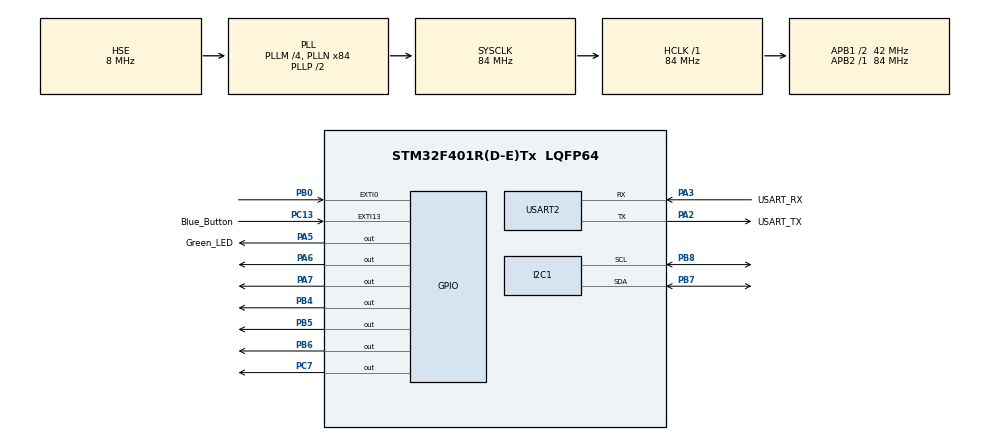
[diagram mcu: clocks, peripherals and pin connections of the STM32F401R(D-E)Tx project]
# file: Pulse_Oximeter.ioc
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Mcu.Family=STM32F4
Mcu.Name=STM32F401R(D-E)Tx
Mcu.Package=LQFP64
NVIC.EXTI0_IRQn=true\:0\:0\:false\:false\:true\:true\:true\:true
NVIC.PriorityGroup=NVIC_PRIORITYGROUP_0
PA13.GPIO_Label=TMS
PA13.Mode=Serial_Wire
PA13.Signal=SYS_JTMS-SWDIO
PA14.GPIO_Label=TCK
PA14.Mode=Serial_Wire
PA14.Signal=SYS_JTCK-SWCLK
PA2.GPIO_Label=USART_TX
PA2.GPIO_Mode=GPIO_MODE_AF_PP
PA2.GPIO_PuPd=GPIO_NOPULL
PA2.GPIO_Speed=GPIO_SPEED_FREQ_LOW
PA2.Mode=Asynchronous
PA2.Signal=USART2_TX
PA3.GPIO_Label=USART_RX
PA3.GPIO_Mode=GPIO_MODE_AF_PP
PA3.GPIO_PuPd=GPIO_NOPULL
PA3.GPIO_Speed=GPIO_SPEED_FREQ_LOW
PA3.Mode=Asynchronous
PA3.Signal=USART2_RX
PA5.GPIO_Label=Green_LED
PA5.GPIO_Mode=GPIO_MODE_OUTPUT_PP
PA5.GPIO_PuPd=GPIO_NOPULL
PA5.GPIO_Speed=GPIO_SPEED_FREQ_LOW
PA5.Signal=GPIO_Output
PA6.Signal=GPIO_Output
PA7.Signal=GPIO_Output
PB0.GPIO_ModeDefaultEXTI=GPIO_MODE_IT_FALLING
PB0.GPIO_PuPd=GPIO_PULLUP
PB0.Signal=GPXTI0
PB3.GPIO_Label=SWO
PB3.Signal=SYS_JTDO-SWO
PB4.Signal=GPIO_Output
PB5.Signal=GPIO_Output
PB6.Signal=GPIO_Output
PB7.Mode=I2C
PB7.Signal=I2C1_SDA
PB8.Mode=I2C
PB8.Signal=I2C1_SCL
PC13-ANTI_TAMP.GPIO_Label=Blue_Button
PC13-ANTI_TAMP.GPIO_ModeDefaultEXTI=GPIO_MODE_IT_FALLING
PC13-ANTI_TAMP.GPIO_PuPd=GPIO_NOPULL
PC13-ANTI_TAMP.Signal=GPXTI13
PC14-OSC32_IN.Signal=RCC_OSC32_IN
PC15-OSC32_OUT.Signal=RCC_OSC32_OUT
PC7.Signal=GPIO_Output
PH0\ -\ OSC_IN.Mode=HSE-External-Clock-Source
PH0\ -\ OSC_IN.Signal=RCC_OSC_IN
PH1\ -\ OSC_OUT.Mode=HSE-External-Clock-Source
PH1\ -\ OSC_OUT.Signal=RCC_OSC_OUT
ProjectManager.HeapSize=0x2000
ProjectManager.StackSize=0x4000
ProjectManager.TargetToolchain=STM32CubeIDE
RCC.48MHZClocksFreq_Value=24000000
RCC.AHBFreq_Value=84000000
RCC.APB1CLKDivider=RCC_HCLK_DIV2
RCC.APB1Freq_Value=42000000
RCC.APB1TimFreq_Value=84000000
RCC.APB2Freq_Value=84000000
RCC.APB2TimFreq_Value=84000000
RCC.CortexFreq_Value=84000000
RCC.HCLKFreq_Value=84000000
RCC.HSE_VALUE=8000000
RCC.HSI_VALUE=16000000
RCC.LSE_VALUE=32768
RCC.PLLM=4
RCC.PLLN=84
RCC.PLLQ=7
RCC.PLLSourceVirtual=RCC_PLLSOURCE_HSE
RCC.SYSCLKFreq_VALUE=84000000
RCC.SYSCLKSource=RCC_SYSCLKSOURCE_PLLCLK
RCC.VCOOutputFreq_Value=168000000
USART2.VirtualMode=VM_ASYNC
board=NUCLEO-F401RE

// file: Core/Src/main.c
/* USER CODE BEGIN Header */
/**
  ******************************************************************************
  * @file           : main.c
  * @brief          : Main program body
  ******************************************************************************
  * @attention
  *
  * Copyright (c) 2023 STMicroelectronics.
  * All rights reserved.
  *
  * This software is licensed under terms that can be found in the LICENSE file
  * in the root directory of this software component.
  * If no LICENSE file comes with this software, it is provided AS-IS.
  *
  ******************************************************************************
  */
/* USER CODE END Header */
#include "main.h"

/* USER CODE BEGIN Includes */
#include "lcd.h"
#include "stdio.h"
#include <stdlib.h>
/* USER CODE END Includes */

I2C_HandleTypeDef hi2c1;

UART_HandleTypeDef huart2;

/* USER CODE BEGIN PV */
UART_HandleTypeDef huart2;
GPIO_PinState button_state;
uint8_t dataBuffer[16]; // Buffer to store received I2C data

/* USER CODE END PV */

void SystemClock_Config(void);
static void MX_GPIO_Init(void);
static void MX_USART2_UART_Init(void);
static void MX_I2C1_Init(void);

  /* USER CODE BEGIN PFP */
int _write(int file, char *ptr, int len)
{
  /* Implement your write code here, this is used by puts and printf for example */
  int i=0;
  for(i=0 ; i<len ; i++)
    ITM_SendChar((*ptr++));
  return len;
}
/* USER CODE END PFP */

/* USER CODE BEGIN 0 */

void HAL_GPIO_EXTI_Callback(uint16_t GPIO_Pin)				// this is the function that executes when EXT interrupt comes in
{
	// ToDO: implement this to do what it is required to do

}
/* USER CODE END 0 */

int main(void)
{

  /* MCU Configuration--------------------------------------------------------*/

  /* Reset of all peripherals, Initializes the Flash interface and the Systick. */
   HAL_Init();

  /* Configure the system clock */
  SystemClock_Config();

  /* Initialize all configured peripherals */
  MX_GPIO_Init();
  MX_USART2_UART_Init();
  MX_I2C1_Init();
  /* USER CODE BEGIN 2 */

  // Lcd_PortType ports[] = { D4_GPIO_Port, D5_GPIO_Port, D6_GPIO_Port, D7_GPIO_Port };
  Lcd_PortType ports[] = { GPIOC, GPIOB, GPIOA, GPIOA };
  // Lcd_PinType pins[] = {D4_Pin, D5_Pin, D6_Pin, D7_Pin};
  Lcd_PinType pins[] = {GPIO_PIN_7, GPIO_PIN_6, GPIO_PIN_7, GPIO_PIN_6};
  Lcd_HandleTypeDef lcd;
  // Lcd_create(ports, pins, RS_GPIO_Port, RS_Pin, EN_GPIO_Port, EN_Pin, LCD_4_BIT_MODE);
  lcd = Lcd_create(ports, pins, GPIOB, GPIO_PIN_5, GPIOB, GPIO_PIN_4, LCD_4_BIT_MODE);
  Lcd_cursor(&lcd, 0,1);
  Lcd_string(&lcd, "'boss'");

//  for ( int x = 1; x <= 200 ; x++ )
//  {
//	Lcd_cursor(&lcd, 1,7);
//	Lcd_int(&lcd, x);
//	HAL_Delay (100);
//  }

  printf("Hello World!\n");

  /* USER CODE END 2 */

  /* Infinite loop */
  /* USER CODE BEGIN WHILE */
  while (1)
  {

	  // Currently, the project is just initialized to turn the LED ON whenever we PRESS the blue button on the board
	  // ... the next step will be to figure out how to output a message to the LCD screen a message whenever the button is pressed
//	  button_state = HAL_GPIO_ReadPin(GPIOC, Blue_Button_Pin);			// obtain button status (i.e. if it is pressed)
//
//	  if (button_state == GPIO_PIN_RESET){								// blue button is pressed
//		  HAL_GPIO_WritePin(GPIOA, Green_LED_Pin, GPIO_PIN_SET);		// turn the LED on
//	  } else {															// blue button is not pressed
//		  HAL_GPIO_WritePin(GPIOA, Green_LED_Pin, GPIO_PIN_RESET);		// turn the LED off
//	  }

	  //demo begin

	  // STM32 is a slave, so it will wait for data from the master
	  printf("waiting for I2C\n");
	  HAL_I2C_Slave_Receive(&hi2c1, (uint8_t*)dataBuffer, sizeof(dataBuffer), HAL_MAX_DELAY);

	  printf("received I2C\n");

	  // Process the received data as needed
	  char stringBuffer[16];
//	  sprintf(stringBuffer, "%s", dataBuffer);
//	  printf("string = %s\n", stringBuffer);
//
//	  Lcd_clear(&lcd);
//	  Lcd_cursor(&lcd, 0,0);
//	  Lcd_string(&lcd, stringBuffer);

	  // Process the received data as needed
	  strncpy(stringBuffer, (char*)dataBuffer, 16);
	  printf("String Buffer = %s\n", stringBuffer);

	  // Split the string into two substrings
	  char* spo2Substring = strtok(stringBuffer, ",");
	  char* heartRateSubstring = strtok(NULL, ",");

	  if (spo2Substring != NULL && heartRateSubstring != NULL)
	  {
		  // Convert substrings to integers
		  unsigned int spo2Value = atoi(spo2Substring);
		  unsigned int heartRateValue = atoi(heartRateSubstring);

		  char spo2String[16];
		  if (spo2Value < 92){
			  sprintf(spo2String, "Spo2: %d !!!", spo2Value);
		  } else {
			  sprintf(spo2String, "Spo2: %d", spo2Value);
		  }

		  char heartRateString[16];
		  if (heartRateValue > 160){
			  sprintf(heartRateString, "HR: %d HIGH", heartRateValue);
		  } else if(heartRateValue < 50) {
			  sprintf(heartRateString, "HR: %d LOW", heartRateValue);
		  } else {
			  sprintf(heartRateString, "HR: %d", heartRateValue);
		  }

		  // Print values to console
		  printf("%s\n", spo2String);
		  printf("%s\n", heartRateString);

		  // Update LCD or perform other actions with the extracted values
		  Lcd_clear(&lcd);
		  Lcd_cursor(&lcd, 0, 0);
		  Lcd_string(&lcd, spo2String);
		  Lcd_cursor(&lcd, 1, 0);
		  Lcd_string(&lcd, heartRateString);
	  }
	  else
	  {
		  printf("Invalid data format\n");
	  }

	  // Clear the data buffer for the next transmission
	  memset(dataBuffer, 0, sizeof(dataBuffer));
	  // end here
    /* USER CODE END WHILE */

  }
}

void SystemClock_Config(void)
{
  RCC_OscInitTypeDef RCC_OscInitStruct = {0};
  RCC_ClkInitTypeDef RCC_ClkInitStruct = {0};

  /** Configure the main internal regulator output voltage
  */
  __HAL_RCC_PWR_CLK_ENABLE();
  __HAL_PWR_VOLTAGESCALING_CONFIG(PWR_REGULATOR_VOLTAGE_SCALE2);

  /** Initializes the RCC Oscillators according to the specified parameters
  * in the RCC_OscInitTypeDef structure.
  */
  RCC_OscInitStruct.OscillatorType = RCC_OSCILLATORTYPE_HSE;
  RCC_OscInitStruct.HSEState = RCC_HSE_BYPASS;
  RCC_OscInitStruct.PLL.PLLState = RCC_PLL_ON;
  RCC_OscInitStruct.PLL.PLLSource = RCC_PLLSOURCE_HSE;
  RCC_OscInitStruct.PLL.PLLM = 4;
  RCC_OscInitStruct.PLL.PLLN = 84;
  RCC_OscInitStruct.PLL.PLLP = RCC_PLLP_DIV2;
  RCC_OscInitStruct.PLL.PLLQ = 7;
  if (HAL_RCC_OscConfig(&RCC_OscInitStruct) != HAL_OK)
  {
    Error_Handler();
  }

  /** Initializes the CPU, AHB and APB buses clocks
  */
  RCC_ClkInitStruct.ClockType = RCC_CLOCKTYPE_HCLK|RCC_CLOCKTYPE_SYSCLK
                              |RCC_CLOCKTYPE_PCLK1|RCC_CLOCKTYPE_PCLK2;
  RCC_ClkInitStruct.SYSCLKSource = RCC_SYSCLKSOURCE_PLLCLK;
  RCC_ClkInitStruct.AHBCLKDivider = RCC_SYSCLK_DIV1;
  RCC_ClkInitStruct.APB1CLKDivider = RCC_HCLK_DIV2;
  RCC_ClkInitStruct.APB2CLKDivider = RCC_HCLK_DIV1;

  if (HAL_RCC_ClockConfig(&RCC_ClkInitStruct, FLASH_LATENCY_2) != HAL_OK)
  {
    Error_Handler();
  }
}

static void MX_I2C1_Init(void)
{

  hi2c1.Instance = I2C1;
  hi2c1.Init.ClockSpeed = 100000;
  hi2c1.Init.DutyCycle = I2C_DUTYCYCLE_2;
  hi2c1.Init.OwnAddress1 = 8;
  hi2c1.Init.AddressingMode = I2C_ADDRESSINGMODE_7BIT;
  hi2c1.Init.DualAddressMode = I2C_DUALADDRESS_DISABLE;
  hi2c1.Init.OwnAddress2 = 8;
  hi2c1.Init.GeneralCallMode = I2C_GENERALCALL_DISABLE;
  hi2c1.Init.NoStretchMode = I2C_NOSTRETCH_DISABLE;
  if (HAL_I2C_Init(&hi2c1) != HAL_OK)
  {
    Error_Handler();
  }

}

static void MX_USART2_UART_Init(void)
{

  huart2.Instance = USART2;
  huart2.Init.BaudRate = 115200;
  huart2.Init.WordLength = UART_WORDLENGTH_8B;
  huart2.Init.StopBits = UART_STOPBITS_1;
  huart2.Init.Parity = UART_PARITY_NONE;
  huart2.Init.Mode = UART_MODE_TX_RX;
  huart2.Init.HwFlowCtl = UART_HWCONTROL_NONE;
  huart2.Init.OverSampling = UART_OVERSAMPLING_16;
  if (HAL_UART_Init(&huart2) != HAL_OK)
  {
    Error_Handler();
  }

}

static void MX_GPIO_Init(void)
{
  GPIO_InitTypeDef GPIO_InitStruct = {0};

  /* GPIO Ports Clock Enable */
  __HAL_RCC_GPIOC_CLK_ENABLE();
  __HAL_RCC_GPIOH_CLK_ENABLE();
  __HAL_RCC_GPIOA_CLK_ENABLE();
  __HAL_RCC_GPIOB_CLK_ENABLE();

  /*Configure GPIO pin Output Level */
  HAL_GPIO_WritePin(GPIOA, Green_LED_Pin|GPIO_PIN_6|GPIO_PIN_7, GPIO_PIN_RESET);

  /*Configure GPIO pin Output Level */
  HAL_GPIO_WritePin(GPIOC, GPIO_PIN_7, GPIO_PIN_RESET);

  /*Configure GPIO pin Output Level */
  HAL_GPIO_WritePin(GPIOB, GPIO_PIN_4|GPIO_PIN_5|GPIO_PIN_6, GPIO_PIN_RESET);

  /*Configure GPIO pin : Blue_Button_Pin */
  GPIO_InitStruct.Pin = Blue_Button_Pin;
  GPIO_InitStruct.Mode = GPIO_MODE_IT_FALLING;
  GPIO_InitStruct.Pull = GPIO_NOPULL;
  HAL_GPIO_Init(Blue_Button_GPIO_Port, &GPIO_InitStruct);

  /*Configure GPIO pins : Green_LED_Pin PA6 PA7 */
  GPIO_InitStruct.Pin = Green_LED_Pin|GPIO_PIN_6|GPIO_PIN_7;
  GPIO_InitStruct.Mode = GPIO_MODE_OUTPUT_PP;
  GPIO_InitStruct.Pull = GPIO_NOPULL;
  GPIO_InitStruct.Speed = GPIO_SPEED_FREQ_LOW;
  HAL_GPIO_Init(GPIOA, &GPIO_InitStruct);

  /*Configure GPIO pin : PB0 */
  GPIO_InitStruct.Pin = GPIO_PIN_0;
  GPIO_InitStruct.Mode = GPIO_MODE_IT_FALLING;
  GPIO_InitStruct.Pull = GPIO_PULLUP;
  HAL_GPIO_Init(GPIOB, &GPIO_InitStruct);

  /*Configure GPIO pin : PC7 */
  GPIO_InitStruct.Pin = GPIO_PIN_7;
  GPIO_InitStruct.Mode = GPIO_MODE_OUTPUT_PP;
  GPIO_InitStruct.Pull = GPIO_NOPULL;
  GPIO_InitStruct.Speed = GPIO_SPEED_FREQ_LOW;
  HAL_GPIO_Init(GPIOC, &GPIO_InitStruct);

  /*Configure GPIO pins : PB4 PB5 PB6 */
  GPIO_InitStruct.Pin = GPIO_PIN_4|GPIO_PIN_5|GPIO_PIN_6;
  GPIO_InitStruct.Mode = GPIO_MODE_OUTPUT_PP;
  GPIO_InitStruct.Pull = GPIO_NOPULL;
  GPIO_InitStruct.Speed = GPIO_SPEED_FREQ_LOW;
  HAL_GPIO_Init(GPIOB, &GPIO_InitStruct);

  /* EXTI interrupt init*/
  HAL_NVIC_SetPriority(EXTI0_IRQn, 0, 0);
  HAL_NVIC_EnableIRQ(EXTI0_IRQn);

}

void Error_Handler(void)
{
  __disable_irq();
  while (1)
  {
  }
}
